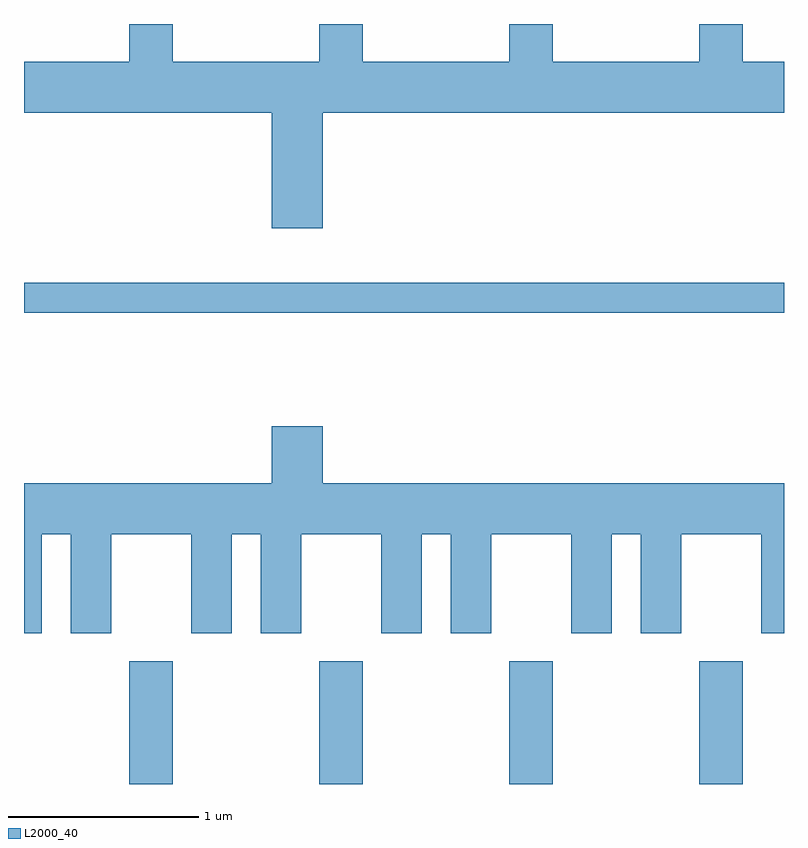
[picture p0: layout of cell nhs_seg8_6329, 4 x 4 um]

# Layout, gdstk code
import gdstk
lib = gdstk.Library(unit=1e-6, precision=1e-09)
def R(c, l, rs):  # rectangles x0, y0, x1, y1
    for r in rs: c.add(gdstk.rectangle(r[:2], r[2:], *l))
def A(c, l, x, y, w, h, nx, ny, dx, dy):  # array of equal rectangles
    R(c, l, [(x+i*dx, y+j*dy, x+i*dx+w, y+j*dy+h) for i in range(nx) for j in range(ny)])
def P(c, l, *ps):  # polygons
    for p in ps: c.add(gdstk.Polygon(p, *l))
L2000_40 = (2000, 40)

nhs_seg8_6329 = lib.new_cell('nhs_seg8_6329')
A(nhs_seg8_6329, L2000_40, 374.166, 1928.342, 0.228, 0.647, 4, 1, 1, 0)
R(nhs_seg8_6329, L2000_40, [(373.611,1930.821,377.611,1930.979)])
P(nhs_seg8_6329, L2000_40, [(375.184,1931.876),(377.611,1931.876),(377.611,1932.144),(377.394,1932.144),(377.394,1932.342),(377.166,1932.342),(377.166,1932.144),(376.394,1932.144),(376.394,1932.342),(376.166,1932.342),(376.166,1932.144),(375.394,1932.144),(375.394,1932.342),(375.166,1932.342),(375.166,1932.144),(374.394,1932.144),(374.394,1932.342),(374.166,1932.342),(374.166,1932.144),(373.611,1932.144),(373.611,1931.876),(374.916,1931.876),(374.916,1931.266),(375.184,1931.266)],
  [(373.704,1929.656),(373.856,1929.656),(373.856,1929.136),(374.069,1929.136),(374.069,1929.656),(374.491,1929.656),(374.491,1929.136),(374.704,1929.136),(374.704,1929.656),(374.856,1929.656),(374.856,1929.136),(375.069,1929.136),(375.069,1929.656),(375.491,1929.656),(375.491,1929.136),(375.704,1929.136),(375.704,1929.656),(375.856,1929.656),(375.856,1929.136),(376.069,1929.136),(376.069,1929.656),(376.491,1929.656),(376.491,1929.136),(376.704,1929.136),(376.704,1929.656),(376.856,1929.656),(376.856,1929.136),(377.069,1929.136),(377.069,1929.656),(377.491,1929.656),(377.491,1929.136),(377.611,1929.136),(377.611,1929.924),(375.184,1929.924),(375.184,1930.224),(374.916,1930.224),(374.916,1929.924),(373.611,1929.924),(373.611,1929.136),(373.704,1929.136)])

lib.write_gds('nhs_seg8_6329.gds')
